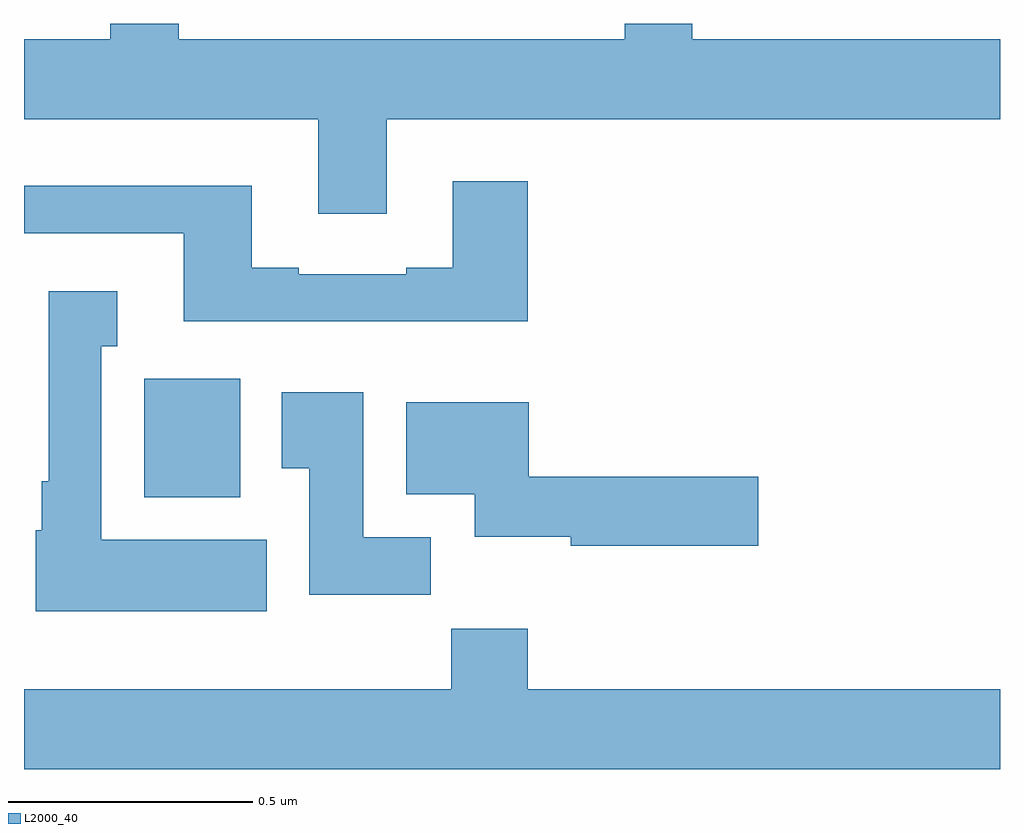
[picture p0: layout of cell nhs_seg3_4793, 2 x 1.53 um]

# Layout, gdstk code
import gdstk
lib = gdstk.Library(unit=1e-6, precision=1e-09)
def R(c, l, rs):  # rectangles x0, y0, x1, y1
    for r in rs: c.add(gdstk.rectangle(r[:2], r[2:], *l))
def P(c, l, *ps):  # polygons
    for p in ps: c.add(gdstk.Polygon(p, *l))
L2000_40 = (2000, 40)

nhs_seg3_4793 = lib.new_cell('nhs_seg3_4793')
R(nhs_seg3_4793, L2000_40, [(170.246,745.43,170.443,745.672)])
P(nhs_seg3_4793, L2000_40, [(170.743,746.204),(172,746.204),(172,746.368),(171.369,746.368),(171.369,746.4),(171.231,746.4),(171.231,746.368),(170.317,746.368),(170.317,746.4),(170.177,746.4),(170.177,746.368),(170,746.368),(170,746.204),(170.603,746.204),(170.603,746.01),(170.743,746.01)],
  [(171.032,746.077),(170.879,746.077),(170.879,745.9),(170.783,745.9),(170.783,745.887),(170.563,745.887),(170.563,745.9),(170.467,745.9),(170.467,746.068),(170,746.068),(170,745.971),(170.327,745.971),(170.327,745.79),(171.032,745.79)],
  [(170.497,745.342),(170.158,745.342),(170.158,745.739),(170.191,745.739),(170.191,745.852),(170.051,745.852),(170.051,745.462),(170.036,745.462),(170.036,745.362),(170.024,745.362),(170.024,745.196),(170.497,745.196)],
  [(170.834,745.348),(170.695,745.348),(170.695,745.645),(170.528,745.645),(170.528,745.489),(170.585,745.489),(170.585,745.23),(170.834,745.23)],
  [(171.505,745.472),(171.034,745.472),(171.034,745.624),(170.783,745.624),(170.783,745.436),(170.924,745.436),(170.924,745.349),(171.12,745.349),(171.12,745.33),(171.505,745.33)],
  [(172,745.036),(171.032,745.036),(171.032,745.16),(170.875,745.16),(170.875,745.036),(170,745.036),(170,744.872),(172,744.872)])

lib.write_gds('nhs_seg3_4793.gds')
